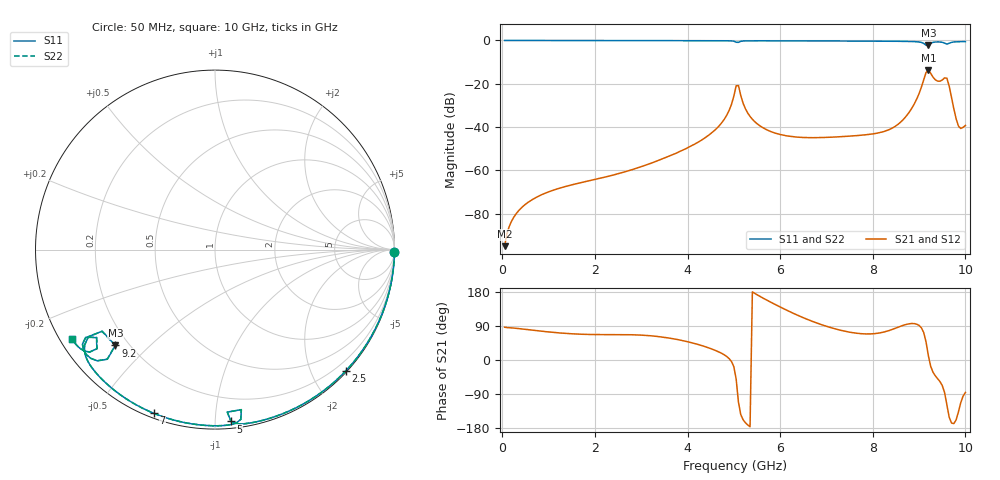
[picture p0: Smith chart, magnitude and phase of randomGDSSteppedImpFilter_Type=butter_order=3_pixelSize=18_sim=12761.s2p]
! freq	dB(S11)	phase(S11)	dB(S12)	phase(S12)
!  dB(S21)	phase(S21)	dB(S22)	phase(S22)
!S-par simulation data
#  GHz  S  DB  R 50
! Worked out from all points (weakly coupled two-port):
!   200 points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, 50 MHz to 10 GHz, reference 50 ohm
!   highest |S21| = -13.65 dB at 9.2 GHz (marker M1); lowest = -95.0 dB at 50 MHz (marker M2)
!   lowest |S11| = -2.3 dB at 9.2 GHz (marker M3), VSWR 7.70, Z = 7.52 - j19.7 ohm
!   |S11| at or under -10 dB: nowhere
!   |S22| runs from -2.3 to 0.0 dB; largest |S21 - S12| = 0
!   S11 on the Smith chart (normalised r, x): 50 MHz: open; 2.5 GHz: 0.02, -2.56; 5 GHz: 0.04, -1.10; 7 GHz: 0.02, -0.69; 9.2 GHz: 0.15, -0.39; 10 GHz: 0.03, -0.29
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0.05  -0.00 -0.9  -95.01 86.5  -95.01 86.5  -0.00 -0.9
0.3  -0.00 -5.3  -80.02 83.6  -80.02 83.6  -0.00 -5.3
1.75  -0.04 -30.2  -65.41 67.8  -65.41 67.8  -0.04 -30.2
2.5  -0.05 -42.7  -61.57 67.0  -61.57 67.0  -0.05 -42.7
3.4  -0.08 -57.3  -55.15 61.4  -55.15 61.4  -0.08 -57.3
4.6  -0.12 -76.4  -41.24 25.4  -41.24 25.4  -0.12 -76.4
4.85  -0.15 -80.8  -34.40 8.9  -34.40 8.9  -0.15 -80.8
5  -0.34 -84.7  -25.70 -17.6  -25.70 -17.6  -0.34 -84.7
5.05  -0.84 -85.7  -20.93 -50.2  -20.93 -50.2  -0.84 -85.7
5.1  -0.88 -80.7  -20.87 -111.7  -20.87 -111.7  -0.88 -80.7
5.3  -0.18 -85.1  -33.53 -171.4  -33.53 -171.4  -0.18 -85.1
5.55  -0.16 -89.4  -39.24 168.8  -39.24 168.8  -0.16 -89.3
6.7  -0.21 -106.2  -44.91 101.7  -44.91 101.7  -0.21 -106.2
7  -0.23 -110.4  -44.77 89.0  -44.77 89.0  -0.23 -110.4
8.35  -0.35 -129.7  -41.22 77.7  -41.22 77.7  -0.35 -129.7
8.8  -0.46 -137.2  -32.72 95.8  -32.72 95.8  -0.46 -137.1
9.05  -0.91 -143.8  -21.58 84.9  -21.58 84.9  -0.91 -143.8
9.2  -2.27 -136.1  -13.65 11.7  -13.65 11.7  -2.25 -136.2
9.4  -0.68 -140.7  -18.78 -49.2  -18.78 -49.2  -0.68 -140.8
9.6  -1.70 -143.4  -17.42 -117.9  -17.42 -117.9  -1.72 -143.4
9.85  -0.58 -144.9  -39.54 -136.9  -39.54 -136.9  -0.58 -144.9
10  -0.54 -147.9  -39.27 -85.8  -39.27 -85.8  -0.54 -147.9
